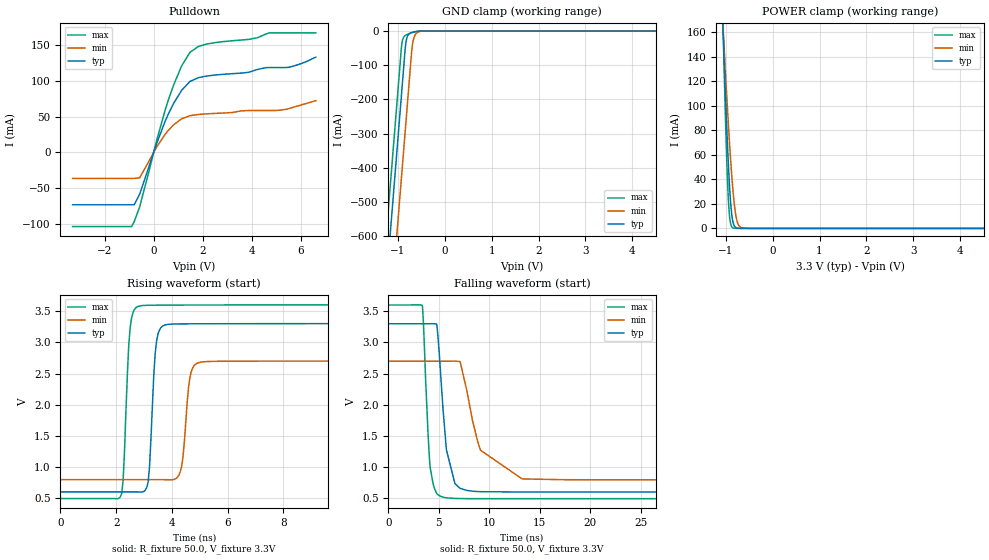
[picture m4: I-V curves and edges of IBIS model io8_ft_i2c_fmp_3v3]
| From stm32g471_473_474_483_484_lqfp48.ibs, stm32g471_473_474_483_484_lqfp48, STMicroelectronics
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[Model]   io8_ft_i2c_fmp_3v3
Model_type I/O_open_drain
Polarity   Non-Inverting
Enable   Active-Low
| CAP_THRESHOLD on pad IOFT is "UDTCAPC" :
| Rising=30.0% of vddiom   Falling=70.0% of vddiom
| C_comp min and max val. don't necessarily correlate with the min and max pvt
| but are the smallest and greatest pad capacitance found.
| var   typ   min   max
C_comp   2.58496pF  2.53515pF  2.60374pF
|C_comp_pulldown   2.58496pF  2.53515pF  2.60374pF
Vinl = 1.35V
Vinh = 1.8V
Vmeas = 1.65V   | Reference voltage for timing measurements
Cref  = 50.0pF   | Timing specification test load capacitance value
Rref  = 1.0MOhm   | Timing specification test load resistance value
Vref  = 1.815V   | Timing specification test load voltage
[Model Spec]
| TIME_THRESHOLD on pin ZIV12 is "CMOS" :
| Rising=50.0% of vdd   Falling=50.0% of vdd
Vinl 1.34770V 1.11370V 1.44970V
Vinh 1.77530V 1.49530V 1.90330V
| variable   typ   min   max
[Temperature Range] 25.0 125.0 -40.0
| variable   typ   min   max
[Voltage Range] 3.3V 2.7V 3.6V
| variable   typ   min   max
[POWER Clamp Reference] 3.3V 2.7V 3.6V
| variable   typ   min   max
[GND Clamp Reference] 0V 0V 0V
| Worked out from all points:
|   slope of the pulldown table from 0 to 0.495 V, typ, clamps not added: 10.9 ohm
|   GND clamp passes 1 mA (typ) near -0.58 V on its own axis
|   POWER clamp passes 1 mA (typ) near -0.80 V on its own axis
|   rising waveform, R_fixture 50.0, V_fixture 3.3V: 20-80 % time 178ps typ, 208ps min, 172ps max; typ from 0.603 V to 3.3 V
|   falling waveform, R_fixture 50.0, V_fixture 3.3V: 20-80 % time 896ps typ, 2.33ns min, 522ps max; typ from 3.3 V to 0.603 V
[POWER Clamp]
-3.3V     3.015A     2.054A     3.978A
-1.06V    166.8mA    167.3mA    172.4mA
-1.05V    156mA      159.9mA    156.7mA
-980mV    85.12mA    110.1mA    59.21mA
-940mV    50.68mA    83.63mA    21.78mA
-920mV    36.19mA    71.13mA    10.91mA
-890mV    19.13mA    53.62mA    3.147mA
-840mV    4.466mA    28.96mA    309.8uA
-790mV    763.7uA    12.17mA    28.67uA
-740mV    119.7uA    3.892mA    2.636uA
-560mV    142.6nA    28.01uA    519.9pA
6.6V      0A         0A         0A
[GND Clamp]
-3.3V     -4.231A    -4.473A    -4.091A
-1.25V    -746.3mA   -988.1mA   -606.2mA
-930mV    -202.3mA   -444.1mA   -62.21mA
-910mV    -168.3mA   -410.1mA   -35.02mA
-840mV    -49.53mA   -291.1mA   -13.04mA
-820mV    -28.87mA   -257.1mA   -11.41mA
-780mV    -12.16mA   -189.1mA   -8.87mA
-720mV    -5.351mA   -87.09mA   -5.703mA
-690mV    -3.9mA     -43.52mA   -4.338mA
-650mV    -2.532mA   -17.76mA   -2.784mA
-480mV    -113.2uA   -482.1uA   -69.15uA
6.6V      840.8pA    92.11nA    588.9pA
| variable   typ   min   max
[Pullup Reference] 3.3V 2.7V 3.6V
| variable   typ   min   max
[Pulldown Reference] 0V 0V 0V
[Pulldown]
-3.3V     -73.23mA   -36.43mA   -103.7mA
-890mV    -73.23mA   -36.43mA   -103.1mA
-790mV    -73.08mA   -36.43mA   -96.56mA
-570mV    -58.43mA   -35.54mA   -76.22mA
120mV     12.17mA    7.266mA    16.35mA
600mV     53.75mA    30.83mA    73.34mA
1.14V     86.74mA    46.88mA    120.9mA
1.48V     99.14mA    51.31mA    139.9mA
2.17V     106.7mA    53.87mA    151.5mA
4.71V     118.6mA    58.52mA    167.1mA
5.5V      118.8mA    61.2mA     167.1mA
6.6V      133.1mA    72.2mA     167.1mA
[Ramp]
dV/dt_r 1.61843V/174.41251ps 1.14071V/206.39789ps 1.86269V/168.33494ps
dV/dt_f 1.61846V/796.60522ps 1.14076V/1.69774ns 1.86272V/521.88482ps
R_load = 50.0
| Removed startup time: 0s 0s 0s  .
| Removed end time: 19.75ns.
[Rising Waveform]
R_fixture   = 50.0
V_fixture   = 3.3V
V_fixture_min = 2.7V
V_fixture_max = 3.6V
0s        602.6mV    798.7mV    495.5mV
2.15ns    602.5mV    798.7mV    522.1mV
2.5ns     602.5mV    798.7mV    3.227V
2.8ns     602mV      798.6mV    3.578V
3.15ns    767.9mV    798.6mV    3.594V
3.4ns     2.823V     798.6mV    3.596V
3.75ns    3.278V     798mV      3.597V
4.3ns     3.296V     922.6mV    3.598V
5ns       3.297V     2.679V     3.599V
19.75ns   3.3V       2.7V       3.6V
| Removed startup time: 0s 0s 0s  .
| Removed end time: 39.775ns.
[Falling Waveform]
R_fixture   = 50.0
V_fixture   = 3.3V
V_fixture_min = 2.7V
V_fixture_max = 3.6V
0s        3.3V       2.7V       3.6V
3.365ns   3.3V       2.7V       3.588V
4.13ns    3.3V       2.7V       1.023V
4.795ns   3.283V     2.7V       580.3mV
5.125ns   2.632V     2.7V       537.2mV
5.755ns   1.278V     2.7V       509.6mV
7.13ns    660.5mV    2.685V     497.4mV
9.13ns    608.1mV    1.274V     495.6mV
13.26ns   602.6mV    812.4mV    495.5mV
39.78ns   602.6mV    798.7mV    495.5mV
